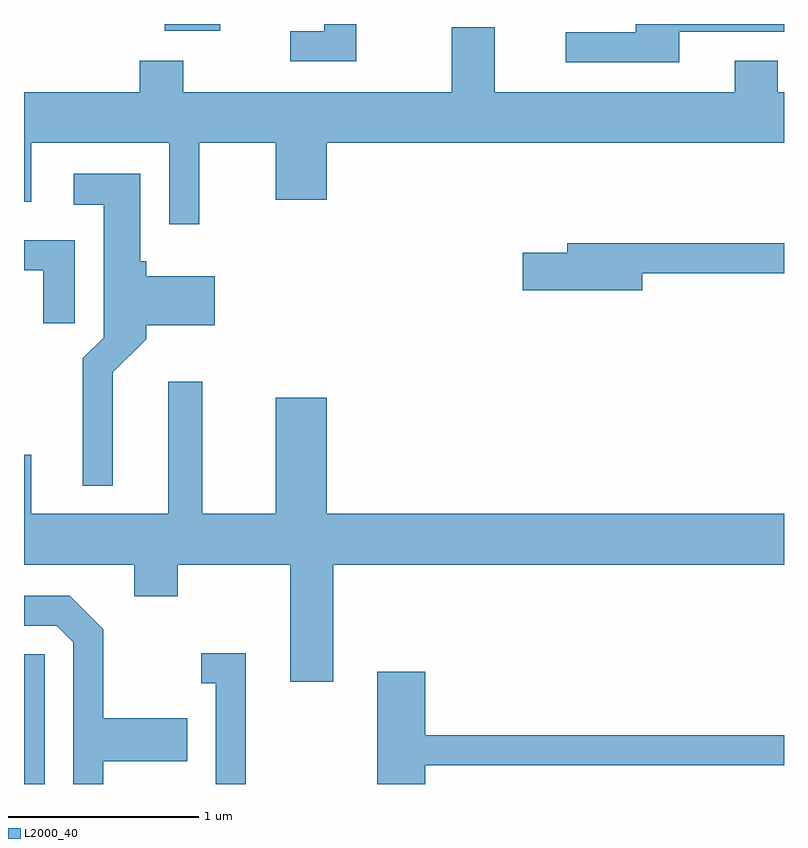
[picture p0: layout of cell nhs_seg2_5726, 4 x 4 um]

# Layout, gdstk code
import gdstk
lib = gdstk.Library(unit=1e-6, precision=1e-09)
def R(c, l, rs):  # rectangles x0, y0, x1, y1
    for r in rs: c.add(gdstk.rectangle(r[:2], r[2:], *l))
def P(c, l, *ps):  # polygons
    for p in ps: c.add(gdstk.Polygon(p, *l))
L2000_40 = (2000, 40)

nhs_seg2_5726 = lib.new_cell('nhs_seg2_5726')
R(nhs_seg2_5726, L2000_40, [(353.611,1073.802,353.719,1074.484), (354.351,1077.766,354.644,1077.802)])
P(nhs_seg2_5726, L2000_40, [(355.359,1077.802),(355.191,1077.802),(355.191,1077.764),(355.013,1077.764),(355.013,1077.606),(355.359,1077.606)],
  [(357.059,1077.761),(357.611,1077.761),(357.611,1077.802),(356.831,1077.802),(356.831,1077.759),(356.463,1077.759),(356.463,1077.601),(357.059,1077.601)],
  [(354.534,1077.176),(354.936,1077.176),(354.936,1076.876),(355.204,1076.876),(355.204,1077.176),(357.611,1077.176),(357.611,1077.444),(357.579,1077.444),(357.579,1077.609),(357.351,1077.609),(357.351,1077.444),(356.089,1077.444),(356.089,1077.784),(355.861,1077.784),(355.861,1077.444),(354.449,1077.444),(354.449,1077.609),(354.221,1077.609),(354.221,1077.444),(353.611,1077.444),(353.611,1076.866),(353.649,1076.866),(353.649,1077.176),(354.376,1077.176),(354.376,1076.748),(354.534,1076.748)],
  [(354.079,1075.969),(354.254,1076.144),(354.254,1076.216),(354.614,1076.216),(354.614,1076.474),(354.254,1076.474),(354.254,1076.554),(354.224,1076.554),(354.224,1077.014),(353.873,1077.014),(353.873,1076.851),(354.031,1076.851),(354.031,1076.152),(353.921,1076.042),(353.921,1075.373),(354.079,1075.373)],
  [(353.879,1076.664),(353.611,1076.664),(353.611,1076.506),(353.711,1076.506),(353.711,1076.228),(353.879,1076.228)],
  [(356.864,1076.491),(357.611,1076.491),(357.611,1076.649),(356.471,1076.649),(356.471,1076.599),(356.236,1076.599),(356.236,1076.401),(356.864,1076.401)],
  [(355.239,1074.956),(357.611,1074.956),(357.611,1075.224),(355.204,1075.224),(355.204,1075.834),(354.936,1075.834),(354.936,1075.224),(354.549,1075.224),(354.549,1075.919),(354.371,1075.919),(354.371,1075.224),(353.649,1075.224),(353.649,1075.534),(353.611,1075.534),(353.611,1074.956),(354.191,1074.956),(354.191,1074.791),(354.419,1074.791),(354.419,1074.956),(355.011,1074.956),(355.011,1074.341),(355.239,1074.341)],
  [(354.029,1073.921),(354.469,1073.921),(354.469,1074.149),(354.029,1074.149),(354.029,1074.617),(353.852,1074.794),(353.611,1074.794),(353.611,1074.636),(353.784,1074.636),(353.871,1074.549),(353.871,1073.802),(354.029,1073.802)],
  [(354.779,1074.489),(354.543,1074.489),(354.543,1074.331),(354.621,1074.331),(354.621,1073.802),(354.779,1073.802)],
  [(355.724,1073.901),(357.611,1073.901),(357.611,1074.059),(355.724,1074.059),(355.724,1074.394),(355.471,1074.394),(355.471,1073.802),(355.724,1073.802)])

lib.write_gds('nhs_seg2_5726.gds')
